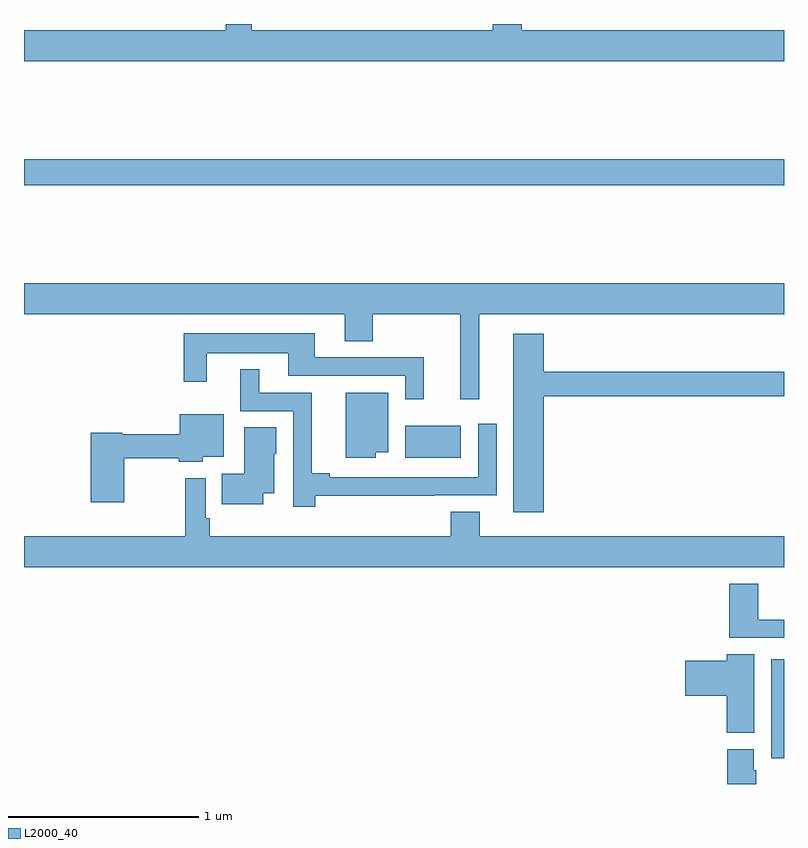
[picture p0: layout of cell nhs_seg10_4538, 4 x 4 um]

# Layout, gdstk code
import gdstk
lib = gdstk.Library(unit=1e-6, precision=1e-09)
def R(c, l, rs):  # rectangles x0, y0, x1, y1
    for r in rs: c.add(gdstk.rectangle(r[:2], r[2:], *l))
def P(c, l, *ps):  # polygons
    for p in ps: c.add(gdstk.Polygon(p, *l))
L2000_40 = (2000, 40)

nhs_seg10_4538 = lib.new_cell('nhs_seg10_4538')
R(nhs_seg10_4538, L2000_40, [(372.932,1308.636,373,1309.156), (371.006,1310.216,371.299,1310.386), (369,1311.652,373,1311.788)])
P(nhs_seg10_4538, L2000_40, [(373,1312.468),(371.62,1312.468),(371.62,1312.5),(371.468,1312.5),(371.468,1312.468),(370.199,1312.468),(370.199,1312.5),(370.063,1312.5),(370.063,1312.468),(369,1312.468),(369,1312.304),(373,1312.304)],
  [(371.396,1310.972),(373,1310.972),(373,1311.136),(369,1311.136),(369,1310.972),(370.688,1310.972),(370.688,1310.83),(370.836,1310.83),(370.836,1310.972),(371.297,1310.972),(371.297,1310.526),(371.396,1310.526)],
  [(371.105,1310.745),(370.531,1310.745),(370.531,1310.872),(369.84,1310.872),(369.84,1310.616),(369.961,1310.616),(369.961,1310.768),(370.391,1310.768),(370.391,1310.649),(371.007,1310.649),(371.007,1310.526),(371.105,1310.526)],
  [(371.735,1310.542),(373,1310.542),(373,1310.671),(371.735,1310.671),(371.735,1310.869),(371.576,1310.869),(371.576,1309.929),(371.735,1309.929)],
  [(370.532,1310.018),(371.162,1310.018),(371.162,1310.019),(371.487,1310.019),(371.487,1310.395),(371.391,1310.395),(371.391,1310.115),(370.609,1310.115),(370.609,1310.135),(370.514,1310.135),(370.514,1310.559),(370.237,1310.559),(370.237,1310.683),(370.139,1310.683),(370.139,1310.463),(370.416,1310.463),(370.416,1309.959),(370.532,1309.959)],
  [(370.852,1310.246),(370.918,1310.246),(370.918,1310.56),(370.694,1310.56),(370.694,1310.216),(370.852,1310.216)],
  [(369.528,1310.214),(369.814,1310.214),(369.814,1310.195),(369.942,1310.195),(369.942,1310.222),(370.051,1310.222),(370.051,1310.446),(369.821,1310.446),(369.821,1310.342),(369.516,1310.342),(369.516,1310.35),(369.35,1310.35),(369.35,1309.983),(369.528,1309.983)],
  [(370.258,1310.03),(370.318,1310.03),(370.318,1310.238),(370.327,1310.238),(370.327,1310.378),(370.16,1310.378),(370.16,1310.134),(370.042,1310.134),(370.042,1309.973),(370.258,1309.973)],
  [(373,1309.804),(371.398,1309.804),(371.398,1309.934),(371.246,1309.934),(371.246,1309.804),(369.977,1309.804),(369.977,1309.9),(369.957,1309.9),(369.957,1310.11),(369.849,1310.11),(369.849,1309.804),(369,1309.804),(369,1309.64),(373,1309.64)],
  [(373,1309.365),(372.865,1309.365),(372.865,1309.555),(372.713,1309.555),(372.713,1309.269),(373,1309.269)],
  [(372.844,1309.184),(372.698,1309.184),(372.698,1309.148),(372.48,1309.148),(372.48,1308.965),(372.698,1308.965),(372.698,1308.769),(372.844,1308.769)],
  [(372.854,1308.573),(372.841,1308.573),(372.841,1308.684),(372.701,1308.684),(372.701,1308.5),(372.854,1308.5)])

lib.write_gds('nhs_seg10_4538.gds')
